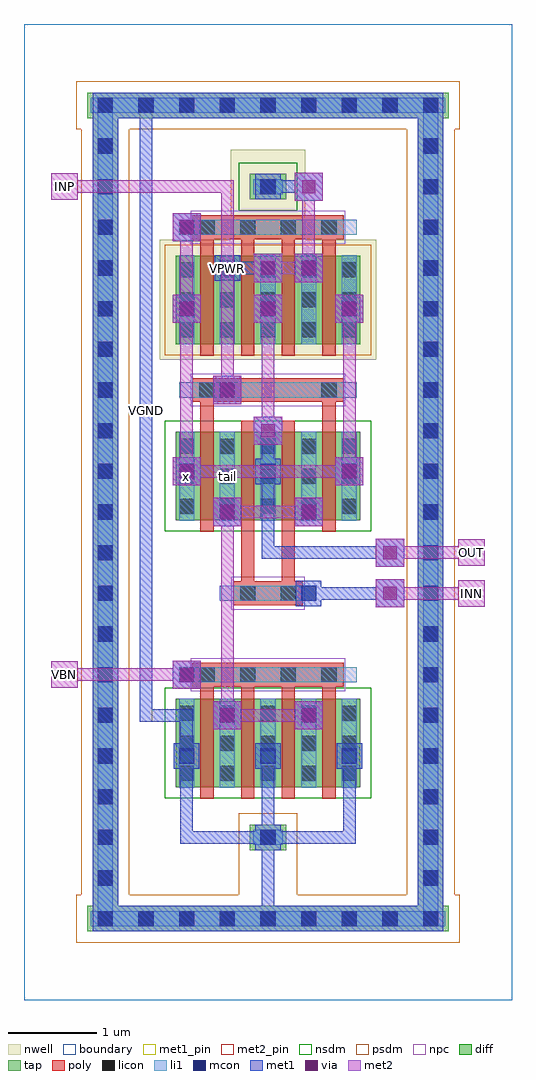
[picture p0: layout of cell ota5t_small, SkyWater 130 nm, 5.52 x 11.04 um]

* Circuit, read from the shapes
.subckt ota5t_small INN INP OUT VBN VGND VPWR tail x
XM1 tail VBN VGND VGND sky130_fd_pr__nfet_01v8 w=1 l=0.15 m=4
XM2 tail INP x VGND sky130_fd_pr__nfet_01v8 w=1 l=0.15 m=2
XM3 OUT INN tail VGND sky130_fd_pr__nfet_01v8 w=1 l=0.15 m=2
XM4 VPWR x x VPWR sky130_fd_pr__pfet_01v8 w=1 l=0.15 m=2
XM5 OUT x VPWR VPWR sky130_fd_pr__pfet_01v8 w=1 l=0.15 m=2
.ends

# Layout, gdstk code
import gdstk
lib = gdstk.Library(unit=1e-6, precision=1e-09)
def R(c, l, rs):  # rectangles x0, y0, x1, y1
    for r in rs: c.add(gdstk.rectangle(r[:2], r[2:], *l))
def A(c, l, x, y, w, h, nx, ny, dx, dy):  # array of equal rectangles
    R(c, l, [(x+i*dx, y+j*dy, x+i*dx+w, y+j*dy+h) for i in range(nx) for j in range(ny)])
nwell = (64, 20)
diff = (65, 20)
tap = (65, 44)
poly = (66, 20)
licon = (66, 44)
li1 = (67, 20)
mcon = (67, 44)
met1_pin = (68, 16)
met1 = (68, 20)
via = (68, 44)
met2_pin = (69, 16)
met2 = (69, 20)
nsdm = (93, 44)
psdm = (94, 20)
npc = (95, 20)
boundary = (235, 4)

ota5t_small = lib.new_cell('ota5t_small')
R(ota5t_small, nwell, [(1.535,7.24,3.985,8.6), (2.34,8.6,3.18,9.62)])
R(ota5t_small, diff, [(1.715,2.405,3.805,3.405), (1.715,5.425,3.805,6.425), (1.715,7.42,3.805,8.42)])
R(ota5t_small, tap, [(0.715,0.775,4.805,1.065), (0.775,0.775,1.065,10.265), (4.455,0.775,4.745,10.265), (2.555,1.695,2.965,1.985), (2.555,9.055,2.965,9.345), (0.715,9.975,4.805,10.265)])
A(ota5t_small, poly, 1.995, 2.275, 0.15, 1.405, 4, 1, 0.46, 0)
A(ota5t_small, poly, 1.995, 7.29, 0.15, 1.45, 4, 1, 0.46, 0)
R(ota5t_small, poly, [(1.905,3.545,3.615,3.815), (2.365,4.465,3.155,4.735), (2.455,4.6,2.605,6.555), (2.915,4.6,3.065,6.555), (1.995,5.295,2.145,6.9), (3.375,5.295,3.525,6.9), (1.905,6.765,3.615,7.035), (1.905,8.605,3.615,8.875)])
A(ota5t_small, licon, 0.835, 0.835, 0.17, 0.17, 9, 2, 0.46, 9.2)
A(ota5t_small, licon, 0.835, 1.755, 0.17, 0.17, 3, 2, 1.84, 7.36)
A(ota5t_small, licon, 0.835, 2.215, 0.17, 0.17, 1, 15, 0, 0.46)
A(ota5t_small, licon, 4.515, 2.215, 0.17, 0.17, 1, 15, 0, 0.46)
A(ota5t_small, licon, 1.755, 2.48, 0.17, 0.17, 5, 3, 0.46, 0.34)
A(ota5t_small, licon, 1.985, 3.595, 0.17, 0.17, 4, 2, 0.46, 5.06)
A(ota5t_small, licon, 1.755, 5.5, 0.17, 0.17, 5, 3, 0.46, 0.34)
A(ota5t_small, licon, 1.755, 7.495, 0.17, 0.17, 5, 3, 0.46, 0.34)
R(ota5t_small, licon, [(0.835,1.295,1.005,1.465), (4.515,1.295,4.685,1.465), (2.445,4.515,2.615,4.685), (2.905,4.515,3.075,4.685), (1.985,6.815,2.155,6.985), (3.365,6.815,3.535,6.985), (0.835,9.575,1.005,9.745), (4.515,9.575,4.685,9.745)])
A(ota5t_small, li1, 1.755, 2.4, 0.17, 1.01, 5, 2, 0.46, 3.02)
A(ota5t_small, li1, 1.755, 7.415, 0.17, 1.01, 5, 1, 0.46, 0)
R(ota5t_small, li1, [(0.755,0.835,4.765,1.005), (0.835,0.835,1.005,10.205), (4.515,0.835,4.685,10.205), (2.595,1.755,2.925,1.925), (1.755,3.595,3.765,3.765), (2.215,4.515,3.305,4.685), (1.755,6.815,3.765,6.985), (1.755,8.655,3.765,8.825), (2.595,9.115,2.925,9.285), (0.755,10.035,4.765,10.205)])
A(ota5t_small, mcon, 0.835, 0.835, 0.17, 0.17, 9, 2, 0.46, 9.2)
A(ota5t_small, mcon, 0.835, 1.295, 0.17, 0.17, 1, 3, 0, 0.92)
A(ota5t_small, mcon, 4.515, 1.295, 0.17, 0.17, 1, 3, 0, 0.92)
A(ota5t_small, mcon, 0.835, 1.755, 0.17, 0.17, 3, 2, 1.84, 7.36)
A(ota5t_small, mcon, 0.835, 2.675, 0.17, 0.17, 5, 2, 0.92, 3.22)
A(ota5t_small, mcon, 0.835, 3.595, 0.17, 0.17, 1, 5, 0, 0.46)
A(ota5t_small, mcon, 4.515, 3.595, 0.17, 0.17, 1, 5, 0, 0.46)
A(ota5t_small, mcon, 2.215, 5.435, 0.17, 0.17, 1, 3, 0, 1.38)
A(ota5t_small, mcon, 0.835, 6.355, 0.17, 0.17, 1, 3, 0, 0.46)
A(ota5t_small, mcon, 4.515, 6.355, 0.17, 0.17, 1, 3, 0, 0.46)
A(ota5t_small, mcon, 0.835, 7.735, 0.17, 0.17, 5, 1, 0.92, 0)
R(ota5t_small, mcon, [(2.215,3.135,2.385,3.305), (3.135,3.135,3.305,3.305), (1.755,3.595,1.925,3.765), (3.135,4.515,3.305,4.685), (3.135,5.435,3.305,5.605), (0.835,8.195,1.005,8.365), (3.135,8.195,3.305,8.365), (4.515,8.195,4.685,8.365), (0.835,8.655,1.005,8.825), (1.755,8.655,1.925,8.825), (4.515,8.655,4.685,8.825), (0.835,9.575,1.005,9.745), (4.515,9.575,4.685,9.745)])
R(ota5t_small, met1_pin, [(1.31,3.15,1.45,10.19), (2.155,8.135,2.445,8.425)])
A(ota5t_small, met1, 1.77, 1.77, 0.14, 1.06, 3, 1, 0.92, 0)
A(ota5t_small, met1, 1.695, 2.615, 0.29, 0.29, 3, 2, 0.92, 3.22)
A(ota5t_small, met1, 2.155, 5.375, 0.29, 0.29, 1, 3, 0, 1.38)
A(ota5t_small, met1, 1.68, 7.66, 0.32, 0.32, 3, 1, 0.92, 0)
A(ota5t_small, met1, 1.695, 7.675, 0.29, 0.29, 3, 1, 0.92, 0)
R(ota5t_small, met1, [(0.775,0.775,4.745,1.065), (0.775,0.775,1.065,10.265), (4.455,0.775,4.745,10.265), (2.69,0.85,2.83,0.99), (2.69,0.85,2.83,1.91), (2.615,1.695,2.905,1.985), (1.77,1.77,2.83,1.91), (2.69,1.77,2.83,1.91), (2.69,1.77,3.75,1.91), (1.77,2.69,1.91,3.29), (2.14,3.06,2.46,3.38), (3.06,3.06,3.38,3.38), (2.155,3.075,2.445,3.365), (3.075,3.075,3.365,3.365), (1.31,3.15,1.91,3.29), (1.31,3.15,1.45,10.19), (1.68,3.52,2,3.84), (1.695,3.535,1.985,3.825), (3.98,4.44,4.3,4.76), (3.075,4.455,3.365,4.745), (3.15,4.53,4.21,4.67), (3.98,4.9,4.3,5.22), (2.69,4.99,2.83,6.05), (2.69,4.99,4.21,5.13), (2.14,5.36,2.46,5.68), (3.06,5.36,3.38,5.68), (3.075,5.375,3.365,5.665), (1.68,5.82,2,6.14), (3.52,5.82,3.84,6.14), (2.69,5.91,2.83,6.51), (2.6,6.28,2.92,6.6), (2.14,6.74,2.46,7.06), (2.6,8.12,2.92,8.44), (3.06,8.12,3.38,8.44), (3.075,8.135,3.365,8.425), (2.23,8.21,2.83,8.35), (1.68,8.58,2,8.9), (1.695,8.595,1.985,8.885), (3.06,9.04,3.38,9.36), (2.615,9.055,2.905,9.345), (2.69,9.13,2.83,9.27), (2.69,9.13,3.29,9.27), (0.775,9.975,4.745,10.265), (1.31,10.05,1.45,10.19)])
A(ota5t_small, via, 1.765, 7.745, 0.15, 0.15, 3, 1, 0.92, 0)
R(ota5t_small, via, [(2.225,3.145,2.375,3.295), (3.145,3.145,3.295,3.295), (1.765,3.605,1.915,3.755), (4.065,4.525,4.215,4.675), (4.065,4.985,4.215,5.135), (2.225,5.445,2.375,5.595), (3.145,5.445,3.295,5.595), (1.765,5.905,1.915,6.055), (3.605,5.905,3.755,6.055), (2.685,6.365,2.835,6.515), (2.225,6.825,2.375,6.975), (2.685,8.205,2.835,8.355), (3.145,8.205,3.295,8.355), (1.765,8.665,1.915,8.815), (3.145,9.125,3.295,9.275)])
R(ota5t_small, met2_pin, [(0.31,3.53,0.61,3.83), (4.91,4.45,5.21,4.75), (4.91,4.91,5.21,5.21), (0.31,9.05,0.61,9.35)])
A(ota5t_small, met2, 1.68, 7.66, 0.32, 0.32, 3, 1, 0.92, 0)
R(ota5t_small, met2, [(2.14,3.06,2.46,3.38), (3.06,3.06,3.38,3.38), (2.23,3.15,3.29,3.29), (2.23,3.15,2.37,5.59), (1.68,3.52,2,3.84), (0.31,3.53,0.61,3.83), (0.39,3.61,0.53,3.75), (0.39,3.61,1.91,3.75), (3.98,4.44,4.3,4.76), (4.91,4.45,5.21,4.75), (4.07,4.53,5.13,4.67), (4.99,4.53,5.13,4.67), (3.98,4.9,4.3,5.22), (4.91,4.91,5.21,5.21), (4.07,4.99,5.13,5.13), (4.99,4.99,5.13,5.13), (2.14,5.36,2.46,5.68), (3.06,5.36,3.38,5.68), (2.23,5.45,3.29,5.59), (1.68,5.82,2,6.14), (3.52,5.82,3.84,6.14), (1.77,5.91,1.91,7.89), (1.77,5.91,3.75,6.05), (3.61,5.91,3.75,7.89), (2.6,6.28,2.92,6.6), (2.69,6.37,2.83,7.89), (2.14,6.74,2.46,7.06), (2.23,6.83,2.37,9.27), (1.77,7.75,1.91,8.81), (2.6,8.12,2.92,8.44), (3.06,8.12,3.38,8.44), (2.69,8.21,3.29,8.35), (3.15,8.21,3.29,9.27), (1.68,8.58,2,8.9), (3.06,9.04,3.38,9.36), (0.31,9.05,0.61,9.35), (0.39,9.13,2.37,9.27), (0.39,9.13,0.53,9.27)])
R(ota5t_small, nsdm, [(1.59,2.28,3.93,3.53), (1.59,5.3,3.93,6.55), (2.43,8.93,3.09,9.47)])
R(ota5t_small, psdm, [(0.59,0.65,4.93,1.19), (0.65,1.19,1.19,9.85), (2.43,1.19,3.09,2.11), (4.33,1.19,4.87,9.85), (1.59,7.295,3.93,8.545), (0.59,9.85,4.93,10.39)])
R(ota5t_small, npc, [(1.885,3.495,3.635,3.865), (2.345,4.415,3.175,4.785), (1.885,6.715,3.635,7.085), (1.885,8.555,3.635,8.925)])
R(ota5t_small, boundary, [(0,0,5.52,11.04)])
ota5t_small.add(gdstk.Label('x', (1.84,5.925), layer=67, texttype=5))
ota5t_small.add(gdstk.Label('tail', (2.3,5.925), layer=67, texttype=5))
ota5t_small.add(gdstk.Label('VPWR', (2.3,8.28), layer=68, texttype=5))
ota5t_small.add(gdstk.Label('VGND', (1.38,6.67), layer=68, texttype=5))
ota5t_small.add(gdstk.Label('INP', (0.46,9.2), layer=69, texttype=5))
ota5t_small.add(gdstk.Label('INN', (5.06,4.6), layer=69, texttype=5))
ota5t_small.add(gdstk.Label('VBN', (0.46,3.68), layer=69, texttype=5))
ota5t_small.add(gdstk.Label('OUT', (5.06,5.06), layer=69, texttype=5))
ota5t_small.add(gdstk.Label('VPWR', (2.3,8.28), layer=68, texttype=16))
ota5t_small.add(gdstk.Label('VGND', (1.38,6.67), layer=68, texttype=16))
ota5t_small.add(gdstk.Label('INP', (0.46,9.2), layer=69, texttype=16))
ota5t_small.add(gdstk.Label('INN', (5.06,4.6), layer=69, texttype=16))
ota5t_small.add(gdstk.Label('VBN', (0.46,3.68), layer=69, texttype=16))
ota5t_small.add(gdstk.Label('OUT', (5.06,5.06), layer=69, texttype=16))

lib.write_gds('ota5t_small.gds')
